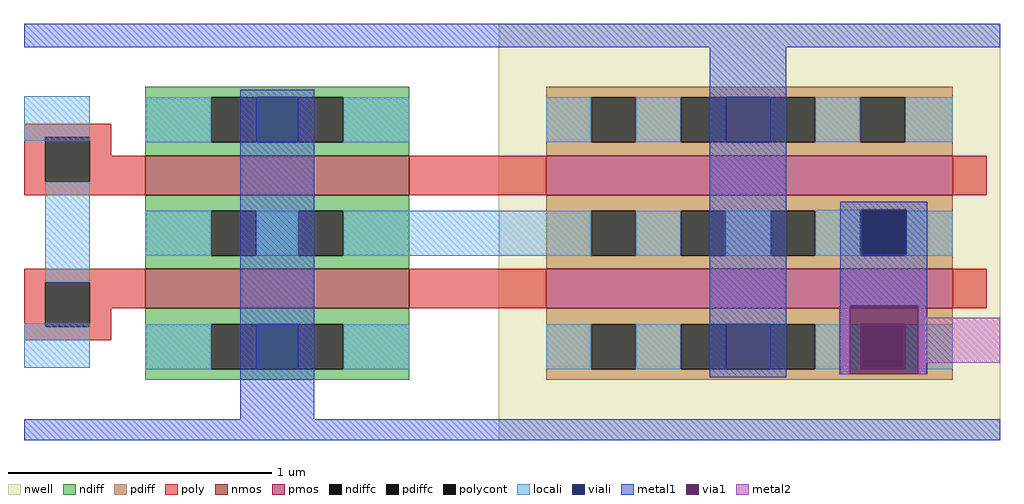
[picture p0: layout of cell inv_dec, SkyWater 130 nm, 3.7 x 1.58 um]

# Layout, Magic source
magic
tech sky130A
magscale 1 2
<< locali >>
rect 0 227 50 261
rect 0 55 50 89
use inv_pm_sh_2  inv_pm_sh_2_0 ~/acads/sky130/sram22/tech/sky130/magic
transform 1 0 192 0 1 0
box -192 0 548 316
use wl_route  wl_route_0 ~/acads/sky130/sram22/tech/sky130/magic
transform 1 0 753 0 1 282
box -151 -232 -13 -101
<< end >>

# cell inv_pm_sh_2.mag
magic
tech sky130A
<< nwell >>
rect 84 0 274 158
<< nmos >>
rect -50 93 50 108
rect -50 50 50 65
<< pmos >>
rect 102 93 256 108
rect 102 50 256 65
<< ndiff >>
rect -50 130 50 134
rect -50 113 -25 130
rect -8 113 8 130
rect 25 113 50 130
rect -50 108 50 113
rect -50 87 50 93
rect -50 70 -25 87
rect -8 70 8 87
rect 25 70 50 87
rect -50 65 50 70
rect -50 44 50 50
rect -50 27 -25 44
rect -8 27 8 44
rect 25 27 50 44
rect -50 23 50 27
<< pdiff >>
rect 102 130 256 134
rect 102 113 119 130
rect 136 113 153 130
rect 170 113 187 130
rect 204 113 221 130
rect 238 113 256 130
rect 102 108 256 113
rect 102 87 256 93
rect 102 70 119 87
rect 136 70 153 87
rect 170 70 187 87
rect 204 70 221 87
rect 238 70 256 87
rect 102 65 256 70
rect 102 44 256 50
rect 102 27 119 44
rect 136 27 153 44
rect 170 27 187 44
rect 204 27 221 44
rect 238 27 256 44
rect 102 23 256 27
<< ndiffc >>
rect -25 113 -8 130
rect 8 113 25 130
rect -25 70 -8 87
rect 8 70 25 87
rect -25 27 -8 44
rect 8 27 25 44
<< pdiffc >>
rect 119 113 136 130
rect 153 113 170 130
rect 187 113 204 130
rect 221 113 238 130
rect 119 70 136 87
rect 153 70 170 87
rect 187 70 204 87
rect 221 70 238 87
rect 119 27 136 44
rect 153 27 170 44
rect 187 27 204 44
rect 221 27 238 44
<< poly >>
rect -96 115 -63 120
rect -96 98 -88 115
rect -71 108 -63 115
rect -71 98 -50 108
rect -96 93 -50 98
rect 50 93 102 108
rect 256 93 269 108
rect -96 60 -50 65
rect -96 43 -88 60
rect -71 50 -50 60
rect 50 50 102 65
rect 256 50 269 65
rect -71 43 -63 50
rect -96 38 -63 43
<< polycont >>
rect -88 98 -71 115
rect -88 43 -71 60
<< locali >>
rect -88 115 -71 123
rect -50 113 -25 130
rect 25 113 50 130
rect 102 113 119 130
rect 136 113 153 130
rect 204 113 221 130
rect 238 113 256 130
rect -88 60 -71 98
rect -50 70 -25 87
rect -8 70 8 87
rect 25 70 119 87
rect 136 70 153 87
rect 170 70 187 87
rect 204 70 221 87
rect 238 70 256 87
rect -88 35 -71 43
rect -50 27 -25 44
rect 25 27 50 44
rect 102 27 119 44
rect 136 27 153 44
rect 204 27 221 44
rect 238 27 256 44
<< viali >>
rect -8 113 8 130
rect 170 113 187 130
rect -8 27 8 44
rect 170 27 187 44
<< metal1 >>
rect -96 149 274 158
rect -14 130 14 133
rect -14 113 -8 130
rect 8 113 14 130
rect -14 44 14 113
rect -14 27 -8 44
rect 8 27 14 44
rect -14 8 14 27
rect 164 130 193 149
rect 164 113 170 130
rect 187 113 193 130
rect 164 44 193 113
rect 164 27 170 44
rect 187 27 193 44
rect 164 24 193 27
rect -96 0 274 8
<< labels >>
rlabel nwell 84 0 274 158 3 VPB
port 3 e
rlabel locali -50 70 256 87 3 Y
port 5 e
rlabel locali -88 35 -71 123 7 A
port 0 w
rlabel metal1 -96 149 274 158 7 VPWR
port 4 w
rlabel metal1 -96 0 274 8 7 VGND
port 1 w
<< end >>

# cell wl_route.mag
magic
tech sky130A
magscale 1 2
<< locali >>
rect -151 -141 -118 -107
<< viali >>
rect -118 -141 -84 -107
<< metal1 >>
rect -134 -107 -68 -101
rect -134 -141 -118 -107
rect -84 -141 -68 -107
rect -134 -180 -68 -141
rect -134 -232 -127 -180
rect -75 -232 -68 -180
<< via1 >>
rect -127 -232 -75 -180
<< metal2 >>
rect -135 -232 -127 -180
rect -75 -189 -69 -180
rect -75 -223 -13 -189
rect -75 -232 -69 -223
<< labels >>
rlabel locali -151 -141 -134 -107 1 vin
port 0 n
<< end >>
